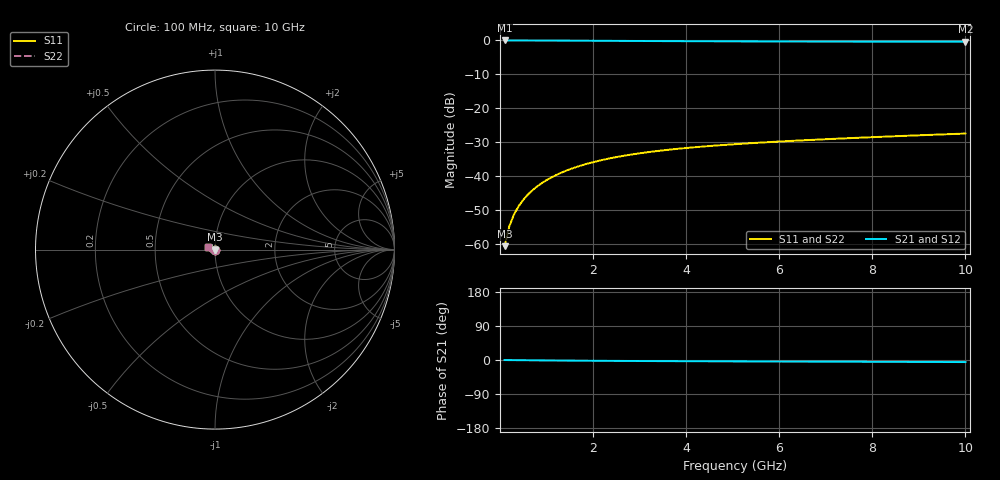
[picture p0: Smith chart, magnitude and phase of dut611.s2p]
! Touchstone file exported from HFSS 2024.1.0
!  File:  C:/UserFiles/LocalFiles/RDL_TSV_Batchsim/temp_TSV1_611_1779788270.aedt
!  Generated:  05:42:38 PM May 26, 2026
!  Design:  TSV1
!  Project:  temp_TSV1_611_1779788270
!  Setup:  Setup1
!  Solution:  Sweep
! Variables:
!  dtsv = 7.63um
!  hbump = 3um
!  htsv = 82.94um
!  lrdl = 252.1521522um
!  p = 40
!  p1 = 52.72um
!  t = 500um
!  trdl = 3um
!  wrdl = 24.89489489um
# GHz S MA R 50.000000
! Terminal data exported
! Port[1] = TSV22_T1
! Port[2] = TSV22_T2
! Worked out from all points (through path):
!   100 points, 100 MHz to 10 GHz, reference 50 ohm
!   highest |S21| = 0.00 dB at 100 MHz (marker M1); lowest = -0.4 dB at 10 GHz (marker M2)
!   lowest |S11| = -60.8 dB at 100 MHz (marker M3), VSWR 1.00, Z = 50 - j0.0889 ohm
!   |S11| at or under -10 dB: start of sweep to end of sweep
!   |S22| runs from -60.8 to -27.5 dB; largest |S21 - S12| = 6.8e-15
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0.1  0.0009157 -76.0  0.9997 -0.1  0.9997 -0.1  0.0009157 -76.0
! Gamma 0 0 0 0
! Port Impedance 50 0 50 0
0.2  0.001792 -85.9  0.9996 -0.2  0.9996 -0.2  0.001792 -85.9
0.3  0.002673 -90.7  0.9994 -0.4  0.9994 -0.4  0.002673 -90.7
0.4  0.003552 -94.1  0.9992 -0.5  0.9992 -0.5  0.003552 -94.1
0.5  0.004424 -97.0  0.9989 -0.6  0.9989 -0.6  0.004424 -97.0
0.6  0.005289 -99.6  0.9986 -0.7  0.9986 -0.7  0.005289 -99.6
0.7  0.006144 -102.0  0.9981 -0.8  0.9981 -0.8  0.006144 -102.0
0.8  0.006988 -104.3  0.9977 -0.9  0.9977 -0.9  0.006988 -104.3
0.9  0.007819 -106.5  0.9972 -1.0  0.9972 -1.0  0.007819 -106.5
1.1  0.009442 -110.8  0.9961 -1.2  0.9961 -1.2  0.009442 -110.8
1.4  0.01176 -116.8  0.9941 -1.5  0.9941 -1.5  0.01176 -116.8
1.6  0.01322 -120.7  0.9926 -1.7  0.9926 -1.7  0.01322 -120.7
1.8  0.01461 -124.3  0.9911 -1.9  0.9911 -1.9  0.01461 -124.3
2.1  0.01656 -129.6  0.9888 -2.1  0.9888 -2.1  0.01656 -129.6
2.5  0.01893 -136.2  0.9856 -2.4  0.9856 -2.4  0.01893 -136.2
2.9  0.02104 -142.3  0.9826 -2.6  0.9826 -2.6  0.02104 -142.3
3.4  0.02337 -149.4  0.979 -2.9  0.979 -2.9  0.02337 -149.4
4.2  0.02653 -159.3  0.9741 -3.3  0.9741 -3.3  0.02653 -159.3
5.1  0.02952 -168.9  0.9696 -3.6  0.9696 -3.6  0.02952 -168.9
6.7  0.03399 177.1  0.964 -4.2  0.964 -4.2  0.03399 177.1
8.4  0.03826 165.2  0.96 -4.9  0.96 -4.9  0.03826 165.2
10  0.04216 156.2  0.9574 -5.5  0.9574 -5.5  0.04215 156.2
